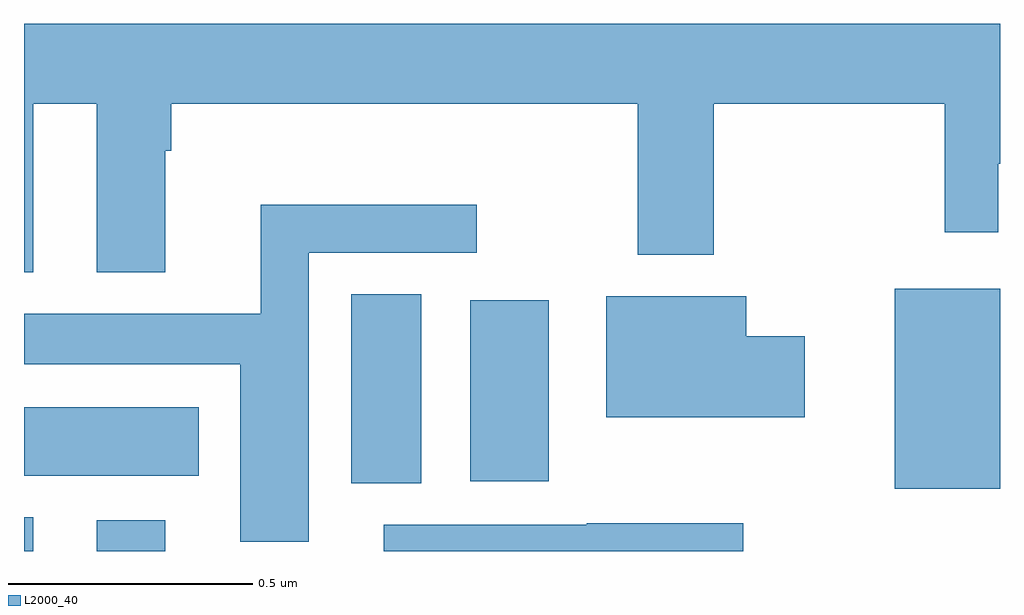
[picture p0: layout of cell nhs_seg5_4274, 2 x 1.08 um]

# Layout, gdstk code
import gdstk
lib = gdstk.Library(unit=1e-6, precision=1e-09)
def R(c, l, rs):  # rectangles x0, y0, x1, y1
    for r in rs: c.add(gdstk.rectangle(r[:2], r[2:], *l))
def P(c, l, *ps):  # polygons
    for p in ps: c.add(gdstk.Polygon(p, *l))
L2000_40 = (2000, 40)

nhs_seg5_4274 = lib.new_cell('nhs_seg5_4274')
R(nhs_seg5_4274, L2000_40, [(168,899.799,168.019,899.869), (168.149,899.799,168.289,899.863), (169.784,899.927,170,900.337), (168.671,899.938,168.814,900.326), (168.914,899.942,169.075,900.313), (168,899.954,168.358,900.094)])
P(nhs_seg5_4274, L2000_40, [(168.019,900.716),(168.149,900.716),(168.149,900.371),(168.289,900.371),(168.289,900.62),(168.302,900.62),(168.302,900.716),(169.258,900.716),(169.258,900.407),(169.413,900.407),(169.413,900.716),(169.887,900.716),(169.887,900.453),(169.996,900.453),(169.996,900.593),(170,900.593),(170,900.88),(168,900.88),(168,900.371),(168.019,900.371)],
  [(168.583,900.411),(168.928,900.411),(168.928,900.509),(168.485,900.509),(168.485,900.286),(168,900.286),(168,900.182),(168.443,900.182),(168.443,899.818),(168.583,899.818)],
  [(169.6,900.24),(169.48,900.24),(169.48,900.322),(169.193,900.322),(169.193,900.074),(169.6,900.074)],
  [(169.474,899.856),(169.153,899.856),(169.153,899.853),(168.737,899.853),(168.737,899.799),(169.474,899.799)])

lib.write_gds('nhs_seg5_4274.gds')
